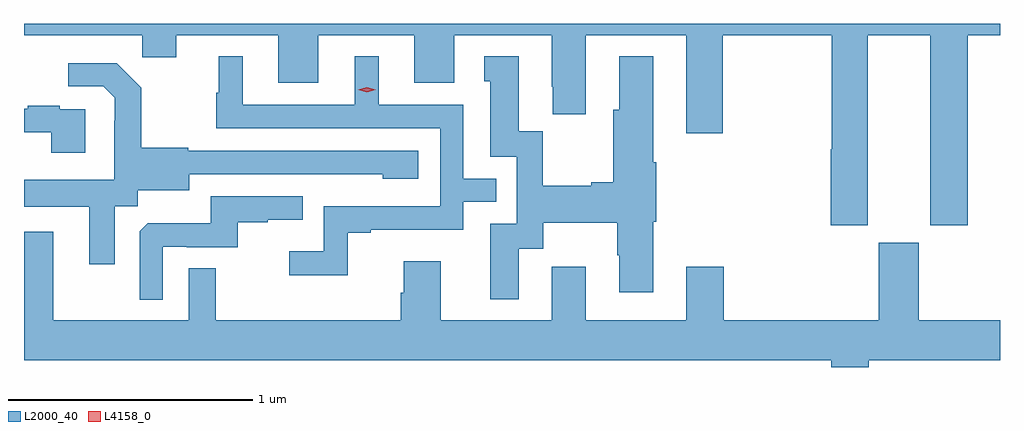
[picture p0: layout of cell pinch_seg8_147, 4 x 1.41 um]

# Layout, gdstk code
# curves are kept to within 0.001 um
import gdstk
lib = gdstk.Library(unit=1e-6, precision=1e-09)
def P(c, l, *ps):  # polygons
    for p in ps: c.add(gdstk.Polygon(p, *l))
L2000_40 = (2000, 40)
L4158_0 = (4158, 0)

pinch_seg8_147 = lib.new_cell('pinch_seg8_147')
P(pinch_seg8_147, L2000_40, [(823.192,1164.452),(823.448,1164.452),(823.448,1163.673),(823.601,1163.673),(823.601,1164.452),(823.734,1164.452),(823.734,1164.5),(819.734,1164.5),(819.734,1164.452),(820.219,1164.452),(820.219,1164.362),(820.357,1164.362),(820.357,1164.452),(820.775,1164.452),(820.775,1164.258),(820.939,1164.258),(820.939,1164.452),(821.333,1164.452),(821.333,1164.258),(821.497,1164.258),(821.497,1164.452),(821.897,1164.452),(821.897,1164.241),(821.9,1164.241),(821.9,1164.129),(822.037,1164.129),(822.037,1164.452),(822.449,1164.452),(822.449,1164.051),(822.597,1164.051),(822.597,1164.452),(823.045,1164.452),(823.045,1163.985),(823.04,1163.985),(823.04,1163.673),(823.192,1163.673)],
  [(821.761,1163.578),(821.863,1163.578),(821.863,1163.684),(822.166,1163.684),(822.166,1163.55),(822.173,1163.55),(822.173,1163.4),(822.313,1163.4),(822.313,1163.688),(822.326,1163.688),(822.326,1163.932),(822.313,1163.932),(822.313,1164.367),(822.173,1164.367),(822.173,1164.147),(822.148,1164.147),(822.148,1163.849),(822.059,1163.849),(822.059,1163.836),(821.859,1163.836),(821.859,1164.059),(821.761,1164.059),(821.761,1164.367),(821.621,1164.367),(821.621,1164.264),(821.645,1164.264),(821.645,1163.955),(821.754,1163.955),(821.754,1163.679),(821.645,1163.679),(821.645,1163.37),(821.761,1163.37)],
  [(821.061,1163.643),(821.155,1163.643),(821.155,1163.655),(821.535,1163.655),(821.535,1163.769),(821.669,1163.769),(821.669,1163.865),(821.535,1163.865),(821.535,1164.168),(821.188,1164.168),(821.188,1164.367),(821.09,1164.367),(821.09,1164.168),(820.63,1164.168),(820.63,1164.367),(820.532,1164.367),(820.532,1164.216),(820.521,1164.216),(820.521,1164.072),(821.439,1164.072),(821.439,1163.751),(820.962,1163.751),(820.962,1163.566),(820.821,1163.566),(820.821,1163.468),(821.061,1163.468)],
  [(820.105,1163.752),(820.2,1163.752),(820.2,1163.816),(820.411,1163.816),(820.411,1163.883),(821.205,1163.882),(821.205,1163.864),(821.35,1163.864),(821.35,1163.979),(820.407,1163.979),(820.407,1163.992),(820.215,1163.992),(820.215,1164.237),(820.115,1164.337),(819.915,1164.337),(819.915,1164.243),(820.059,1164.243),(820.106,1164.196),(820.106,1164.101),(820.104,1164.101),(820.104,1163.86),(819.734,1163.86),(819.734,1163.75),(820.001,1163.75),(820.001,1163.514),(820.105,1163.514)],
  [(819.985,1164.15),(819.881,1164.15),(819.881,1164.163),(819.749,1164.163),(819.749,1164.152),(819.734,1164.152),(819.734,1164.054),(819.845,1164.054),(819.845,1163.97),(819.985,1163.97)],
  [(820.302,1163.586),(820.402,1163.586),(820.402,1163.583),(820.61,1163.583),(820.61,1163.685),(820.733,1163.685),(820.733,1163.696),(820.877,1163.696),(820.877,1163.793),(820.5,1163.793),(820.5,1163.681),(820.241,1163.681),(820.209,1163.649),(820.209,1163.369),(820.302,1163.369)],
  [(823.196,1163.12),(823.734,1163.12),(823.734,1163.284),(823.402,1163.284),(823.402,1163.601),(823.238,1163.601),(823.238,1163.284),(822.602,1163.284),(822.602,1163.503),(822.449,1163.503),(822.449,1163.284),(822.037,1163.284),(822.037,1163.503),(821.897,1163.503),(821.897,1163.284),(821.443,1163.284),(821.443,1163.527),(821.291,1163.527),(821.291,1163.397),(821.279,1163.397),(821.279,1163.284),(820.519,1163.284),(820.519,1163.498),(820.41,1163.498),(820.41,1163.284),(819.853,1163.284),(819.853,1163.647),(819.734,1163.647),(819.734,1163.12),(823.043,1163.12),(823.043,1163.091),(823.196,1163.091)])
P(pinch_seg8_147, L4158_0, [(821.139,1164.219),(821.103,1164.228),(821.103,1164.229),(821.103,1164.229),(821.139,1164.239),(821.175,1164.229),(821.175,1164.229),(821.175,1164.228)])

lib.write_gds('pinch_seg8_147.gds')
